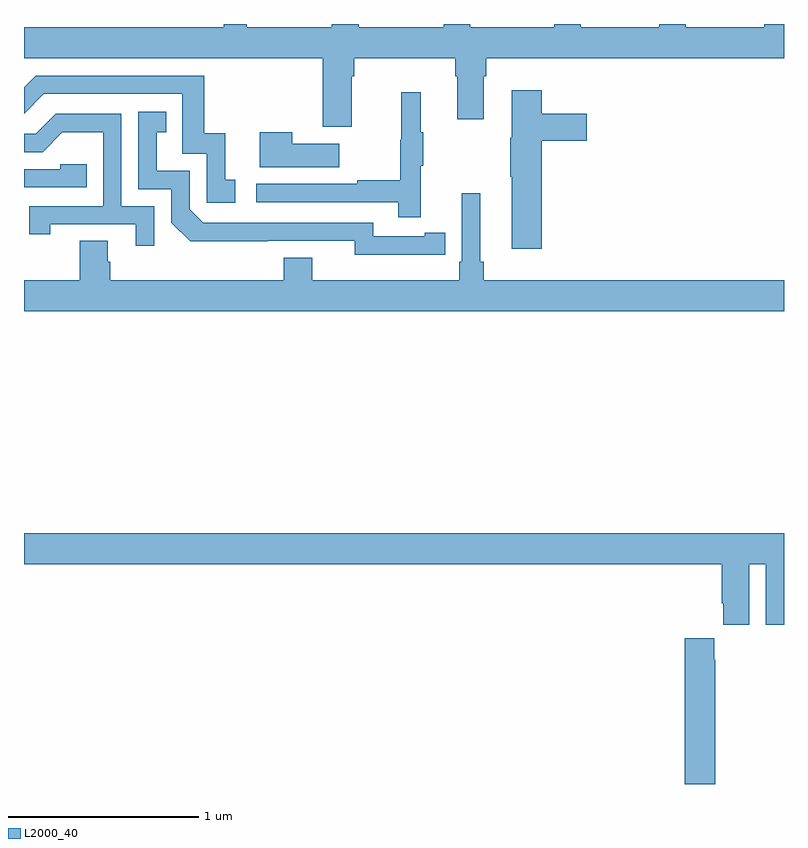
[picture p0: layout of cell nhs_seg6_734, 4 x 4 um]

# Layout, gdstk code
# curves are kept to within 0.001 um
import gdstk
lib = gdstk.Library(unit=1e-6, precision=1e-09)
def P(c, l, *ps):  # polygons
    for p in ps: c.add(gdstk.Polygon(p, *l))
L2000_40 = (2000, 40)

nhs_seg6_734 = lib.new_cell('nhs_seg6_734')
P(nhs_seg6_734, L2000_40, [(161,963.5),(160.895,963.5),(160.895,963.484),(160.483,963.484),(160.483,963.5),(160.343,963.5),(160.343,963.484),(159.931,963.484),(159.931,963.5),(159.791,963.5),(159.791,963.484),(159.349,963.484),(159.349,963.5),(159.209,963.5),(159.209,963.484),(158.761,963.484),(158.761,963.5),(158.621,963.5),(158.621,963.484),(158.173,963.484),(158.173,963.5),(158.052,963.5),(158.052,963.484),(157,963.484),(157,963.32),(158.573,963.32),(158.573,962.958),(158.725,962.958),(158.725,963.224),(158.738,963.224),(158.738,963.32),(159.269,963.32),(159.269,963.224),(159.281,963.224),(159.281,963),(159.421,963),(159.421,963.224),(159.434,963.224),(159.434,963.32),(161,963.32)],
  [(158.113,962.679),(158.06,962.679),(158.06,962.926),(157.949,962.926),(157.949,963.228),(157.062,963.228),(157,963.166),(157,963.028),(157.104,963.132),(157.833,963.132),(157.833,962.817),(157.962,962.817),(157.962,962.559),(158.113,962.559)],
  [(159.725,962.885),(159.961,962.885),(159.961,963.027),(159.725,963.027),(159.725,963.151),(159.566,963.151),(159.566,962.901),(159.559,962.901),(159.559,962.695),(159.566,962.695),(159.566,962.316),(159.725,962.316)],
  [(159.089,962.755),(159.1,962.755),(159.1,962.929),(159.089,962.929),(159.089,963.142),(158.986,963.142),(158.986,962.892),(158.979,962.892),(158.979,962.678),(158.755,962.678),(158.755,962.658),(158.223,962.658),(158.223,962.562),(158.971,962.562),(158.971,962.484),(159.089,962.484)],
  [(159.11,962.286),(159.218,962.286),(159.218,962.402),(159.11,962.402),(159.11,962.382),(158.838,962.382),(158.838,962.454),(157.944,962.454),(157.872,962.526),(157.872,962.727),(157.699,962.727),(157.699,962.931),(157.748,962.931),(157.748,963.037),(157.602,963.037),(157.602,962.631),(157.776,962.631),(157.776,962.454),(157.874,962.357),(158.742,962.358),(158.742,962.285)],
  [(157.686,962.541),(157.512,962.541),(157.512,963.027),(157.166,963.027),(157.061,962.922),(157,962.922),(157,962.826),(157.098,962.826),(157.202,962.93),(157.416,962.93),(157.416,962.541),(157.027,962.541),(157.027,962.394),(157.138,962.394),(157.138,962.445),(157.589,962.445),(157.589,962.334),(157.686,962.334)],
  [(158.659,962.869),(158.411,962.869),(158.411,962.929),(158.24,962.929),(158.24,962.747),(158.659,962.747)],
  [(157.331,962.763),(157.191,962.763),(157.191,962.736),(157,962.736),(157,962.64),(157.331,962.64)],
  [(161,962.152),(159.419,962.152),(159.419,962.248),(159.4,962.248),(159.4,962.608),(159.303,962.608),(159.303,962.248),(159.29,962.248),(159.29,962.152),(158.518,962.152),(158.518,962.269),(158.366,962.269),(158.366,962.152),(157.454,962.152),(157.454,962.25),(157.441,962.25),(157.441,962.36),(157.294,962.36),(157.294,962.152),(157,962.152),(157,961.988),(161,961.988)],
  [(160.816,960.656),(160.904,960.656),(160.904,960.339),(161,960.339),(161,960.82),(157,960.82),(157,960.656),(160.673,960.656),(160.673,960.451),(160.679,960.451),(160.679,960.339),(160.816,960.339)],
  [(160.638,960.155),(160.633,960.155),(160.633,960.268),(160.478,960.268),(160.478,959.5),(160.638,959.5)])

lib.write_gds('nhs_seg6_734.gds')
